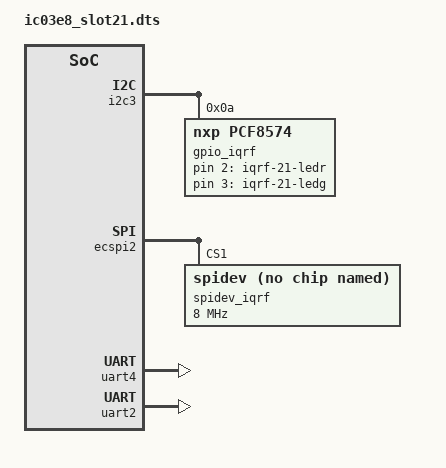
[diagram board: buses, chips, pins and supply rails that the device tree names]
/dts-v1/;


/plugin/;

/ {
	fragment@0 {
		target = <&i2c3>;
		__overlay__ {
			#address-cells = <1>;
			#size-cells = <0>;
			gpio_iqrf: pca9501@10 {
				compatible = "nxp,pcf8574";
				gpio-controller;
				#gpio-cells = <2>;
				reg = <10>;
				gpio-line-names = "SLOT21_IQRF_BTN",
					"SLOT21_IQRF_UART_EN",
					"SLOT21_IQRF_GW_LEDR",
					"SLOT21_IQRF_GW_LEDG",
					"SLOT21_IQRF_SPI_EN",
					"SLOT21_IQRF_I2C_EN",
					"SLOT21_IQRF_SPI_PGM_EN",
					"SLOT21_IQRF_TR_PWR_EN";
			};
		};
	};

	fragment@1 {
		target = <&ecspi2>;
		__overlay__ {
			status = "okay";
			#address-cells = <1>;
			#size-cells = <0>;

			spidev_iqrf: spi@1 {
				compatible = "rohm,dh2228fv";
				reg = <1>;
				status = "okay";
				spi-max-frequency = <8000000>;
			};
		};
	};

	fragment@2 {
		
		target = <&uart4>;
		__overlay__ {
			status = "okay";
		};

	};

	fragment@3 {
		
		target = <&uart2>;
		__overlay__ {
			status = "okay";
		};

	};

	fragment@4 {
		target-path = "/";
		__overlay__ {
			led_slot21 {
				compatible = "gpio-leds";
				iqrf-led@1 {
					label = "iqrf-21-ledr";
					gpios = <&gpio_iqrf 2 0>;
					default-state = "off";
					color = <1>;
				};
				iqrf-led@2 {
					label = "iqrf-21-ledg";
					gpios = <&gpio_iqrf 3 0>;
					default-state = "off";
					color = <2>;
				};
			};
		}; 
	};
};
